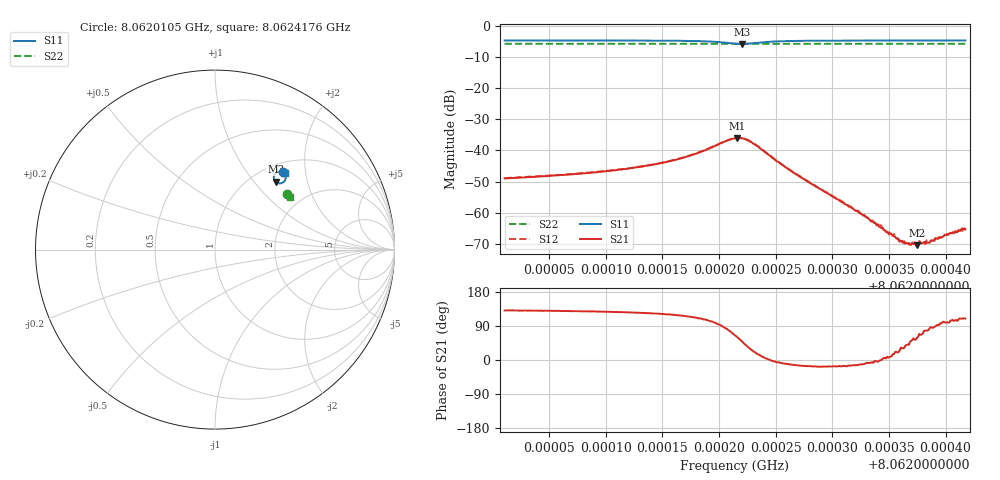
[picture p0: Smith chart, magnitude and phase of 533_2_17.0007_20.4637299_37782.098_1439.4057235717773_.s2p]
#  HZ  S  RI  R  50.00
! Rohde & Schwarz Vector Network Analyzer
! Rohde-Schwarz,ZNB20-2Port,1311601062101988,3.16
! Created: UTC 3/20/2024, 11:15:59 PM
! freq[Hz]  re:S11  im:S11  re:S21  im:S21  re:S12  im:S12  re:S22  im:S22
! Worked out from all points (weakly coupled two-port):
!   401 points, 8.0620105 GHz to 8.0624176 GHz, reference 50 ohm
!   highest |S21| = -36.01 dB at 8.0622161 GHz (marker M1); lowest = -70.4 dB at 8.0623748 GHz (marker M2)
!   lowest |S11| = -5.9 dB at 8.0622202 GHz (marker M3), VSWR 3.06, Z = 63.9 + j65 ohm
!   |S11| at or under -10 dB: nowhere
!   |S22| runs from -5.9 to -5.9 dB; largest |S21 - S12| = 0.0012
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8.06201055e9  0.3777 0.435  -0.00231 0.00269  -0.00221 0.00285  0.4032 0.3108
8.06207872e9  0.3834 0.4292  -0.00265 0.00332  -0.00248 0.00352  0.4057 0.3073
8.06211841e9  0.3875 0.4239  -0.00295 0.00409  -0.00275 0.00433  0.4072 0.3051
8.0621469e9  0.391 0.4177  -0.00329 0.0052  -0.00295 0.00543  0.4083 0.3034
8.06217743e9  0.3944 0.4043  -0.00331 0.0079  -0.00284 0.00815  0.4093 0.3012
8.06219879e9  0.3878 0.3826  -0.00101 0.0123  -0.000379 0.0124  0.4093 0.2995
8.06221406e9  0.3557 0.3693  0.00653 0.0142  0.00731 0.0139  0.4082 0.2985
8.06221609e9  0.3493 0.3709  0.00789 0.0137  0.00873 0.0132  0.4079 0.2986
8.06222016e9  0.3379 0.378  0.0103 0.0118  0.011 0.0112  0.4077 0.2989
8.06223136e9  0.3281 0.4093  0.0117 0.00449  0.0121 0.00382  0.4081 0.2998
8.06225781e9  0.3545 0.4355  0.00542 -0.000915  0.00542 -0.00123  0.4106 0.2994
8.06228223e9  0.3681 0.4352  0.00272 -0.00083  0.00271 -0.000998  0.4121 0.2982
8.06232294e9  0.3784 0.4318  0.001 -0.000232  0.00104 -0.000311  0.4138 0.2958
8.06234227e9  0.3814 0.4301  0.000592 -7.72e-06  0.000636 -3.94e-05  0.4144 0.2948
8.06235041e9  0.3824 0.4295  0.000478 6.96e-05  0.000443 2.32e-05  0.4147 0.2944
8.06236059e9  0.3836 0.4287  0.000295 0.000192  0.000353 0.000121  0.4151 0.2937
8.06236466e9  0.3842 0.4283  0.000252 0.000199  0.000286 0.000151  0.4153 0.2935
8.06236974e9  0.3847 0.428  0.000197 0.000237  0.000212 0.000229  0.4153 0.2932
8.06237483e9  0.3854 0.4276  0.000156 0.000258  0.000175 0.000236  0.4155 0.2929
8.06238806e9  0.3866 0.4266  2.96e-05 0.000357  3.89e-05 0.000356  0.4161 0.2924
8.06240332e9  0.3881 0.4257  -7.06e-05 0.000454  -8.04e-05 0.000452  0.4166 0.2916
8.06241757e9  0.3892 0.4247  -0.00018 0.000514  -0.000177 0.000542  0.4172 0.2908
